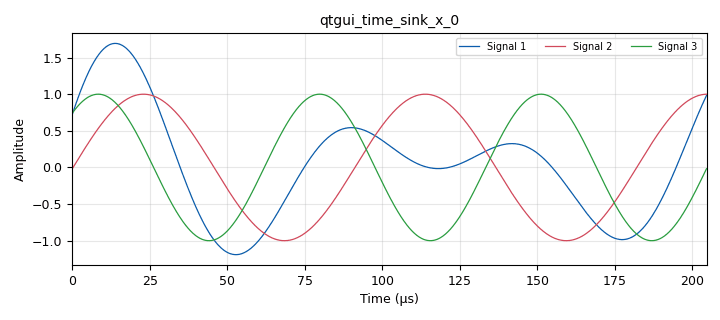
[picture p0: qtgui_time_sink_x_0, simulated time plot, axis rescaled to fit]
options:
  parameters:
    author: sleepwalker
    generate_options: qt_gui
    id: lab1_1
    output_language: python
    title: Not titled yet
  states: {}

blocks:
- name: freq_a
  id: variable
  parameters:
    value: 11e3
  states: {}
- name: freq_b
  id: variable
  parameters:
    value: 14e3
  states: {}
- name: samp_rate
  id: variable
  parameters:
    value: 5000e3
  states: {}
- name: analog_sig_source_x_0
  id: analog_sig_source_x
  parameters:
    amp: '1'
    freq: freq_a
    offset: '0'
    phase: '0'
    samp_rate: samp_rate
    type: float
    waveform: analog.GR_COS_WAVE
  states: {}
- name: analog_sig_source_x_0_0
  id: analog_sig_source_x
  parameters:
    amp: '1'
    freq: freq_b
    offset: '0'
    phase: '0'
    samp_rate: samp_rate
    type: float
    waveform: analog.GR_SIN_WAVE
  states: {}
- name: blocks_add_xx_0
  id: blocks_add_xx
  parameters:
    type: float
  states: {}
- name: blocks_throttle_0
  id: blocks_throttle
  parameters:
    samples_per_second: samp_rate
    type: float
  states: {}
- name: qtgui_time_sink_x_0
  id: qtgui_time_sink_x
  parameters:
    nconnections: '3'
    size: '1024'
    srate: samp_rate
    type: float
  states: {}

connections:
- [analog_sig_source_x_0, '0', blocks_add_xx_0, '0']
- [analog_sig_source_x_0, '0', qtgui_time_sink_x_0, '1']
- [analog_sig_source_x_0_0, '0', blocks_add_xx_0, '1']
- [analog_sig_source_x_0_0, '0', blocks_throttle_0, '0']
- [blocks_add_xx_0, '0', qtgui_time_sink_x_0, '0']
- [blocks_throttle_0, '0', qtgui_time_sink_x_0, '2']

metadata:
  file_format: 1
